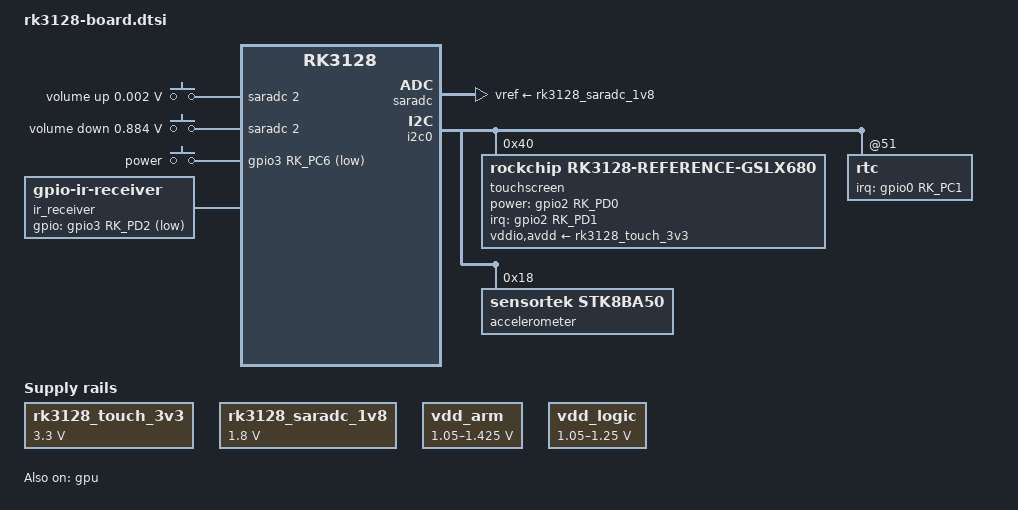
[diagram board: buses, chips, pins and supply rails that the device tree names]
// SPDX-License-Identifier: GPL-2.0+
/*
 * Board basics for the RK3128 reference board Linux port (development record #302, docs/RK3128-LINUX.md
 * "Board basics"): CPU DVFS, Lima GPU, touch, RTC interrupt, accelerometers, keys, IR.
 * Included by scripts/linux-build.sh after the board file (#298); labels come from there and
 * from rk3128.dtsi. Every vendor number is read from the stock rk-kernel.dtb or from the stock
 * 3.10 kernel binary (the doc names the source of each one).
 */

#include <dt-bindings/input/input.h>

/*
 * SAFETY, regulators: on this board a HIGHER PWM duty gives a LOWER voltage, so a wrong table
 * over-volts the CPU. The vendor driver (pwm_regulator_set_voltage at 0xc0341cb8 in the stock
 * kernel, read as ARM code) computes, for a requested voltage V:
 *
 *     duty_percent = ((max_uV - V) / coefficient / 10)      all integer divisions
 *     duty_ns      = period * duty_percent / 100
 *
 * with max_uV = rockchip,pwm_max_voltage = 1450000, coefficient = rockchip,pwm_coefficient = 550,
 * period = 25000 ns, then pwm_config(duty_ns, period) and rk_pwm_config_v2 (period to the
 * register at +4, duty to +8, control 0xb = enable | continuous | DUTY_POSITIVE): the duty is the
 * HIGH time. So duty_percent = floor((1450000 - V) / 5500), e.g. 1.25 V -> 36 %, 1.05 V -> 72 %,
 * 1.45 V -> 0 %. The tables below are exactly that, for the vendor's own 21-entry voltage map.
 *
 * The board file's tables were written in per mille with pwm-dutycycle-unit = 1000. The kernel's
 * pwm-regulator ignores that unit in voltage-table mode (it always scales by 100), so every
 * entry above 100 would fail pwm_set_relative_duty_cycle() and leave the duty at 0 = 1.45 V.
 * They are replaced here by percent values, and the unused unit/range properties dropped.
 *
 * The whole block is behind RK3128_PWM_REGULATORS (default "disabled", the board file's knob):
 * the board file sets the status of vdd_arm, vdd_logic, pwm1 and pwm2 from it, and the OPP
 * entries that need more than u-boot's voltage carry the same status. cpu-supply points at
 * vdd_arm, so while the regulators are disabled cpufreq-dt defers its probe and the CPU stays
 * at the clock and voltage u-boot left (the first test image).
 */
&vdd_arm {
	/delete-property/ pwm-dutycycle-unit;
	/delete-property/ pwm-dutycycle-range;
	voltage-table = <950000 90>, <975000 86>, <1000000 81>, <1025000 77>,
			<1050000 72>, <1075000 68>, <1100000 63>, <1125000 59>,
			<1150000 54>, <1175000 50>, <1200000 45>, <1225000 40>,
			<1250000 36>, <1275000 31>, <1300000 27>, <1325000 22>,
			<1350000 18>, <1375000 13>, <1400000 9>, <1425000 4>,
			<1450000 0>;
	/* floor: the fork's measured stability limit (1.05 V); ceiling: the vendor's top DVFS step */
	regulator-min-microvolt = <1050000>;
	regulator-max-microvolt = <1425000>;
	/*
	 * The vendor waits (new - old) >> 9 microseconds after raising the voltage
	 * (dvfs_volt_up_delay, 0xc0036c08): 512 uV per us.
	 */
	regulator-ramp-delay = <512>;
};

/*
 * vdd_logic feeds the whole PD_LOGIC (DRAM controller, GPU, VOP...). Nothing changes it in this
 * image (no dmc, the GPU has no mali-supply), so it keeps u-boot's value; the limits only stop
 * a stray consumer: floor 1.05 V (mainline's own warning on rk3128-xpi-3128, and the fork's
 * floor), ceiling the vendor's highest logic step (clk_ddr 396 MHz at 1.25 V).
 */
&vdd_logic {
	/delete-property/ pwm-dutycycle-unit;
	/delete-property/ pwm-dutycycle-range;
	voltage-table = <950000 90>, <975000 86>, <1000000 81>, <1025000 77>,
			<1050000 72>, <1075000 68>, <1100000 63>, <1125000 59>,
			<1150000 54>, <1175000 50>, <1200000 45>, <1225000 40>,
			<1250000 36>, <1275000 31>, <1300000 27>, <1325000 22>,
			<1350000 18>, <1375000 13>, <1400000 9>, <1425000 4>,
			<1450000 0>;
	regulator-min-microvolt = <1050000>;
	regulator-max-microvolt = <1250000>;
	regulator-ramp-delay = <512>;
};

/*
 * CPU DVFS. Frequencies are the vendor's (stock dvfs/vd_arm/clk_core operating-points: 216, 408,
 * 600, 696, 816, 1008, 1200 MHz). Each voltage is the larger of the vendor's step and the
 * fork's measured floor (docs/RK3128-LINUX.md "Kernel findings"):
 *
 *    MHz    vendor   fork    used
 *    216    1.000    1.050   1.050
 *    408    1.000    1.050   1.050
 *    600    1.150    1.100   1.150
 *    696    1.150    dropped (the fork's hang, and no clock-tree rate it likes)
 *    816    1.200    1.200   1.200
 *   1008    1.350    1.200   1.350
 *   1200    1.425    1.350   1.425
 *
 * Without regulators (the default) u-boot's 1.25 V (vendor rockchip,pwm_voltage of vdd_arm)
 * carries at most the 816 MHz step, so 1008 and 1200 MHz are disabled with the same knob.
 * rk3128.dtsi's own voltages (0.95..1.325 V) are below the fork's floor and are replaced.
 */
&cpu0 {
	cpu-supply = <&vdd_arm>;
};

&cpu_opp_table {
	/delete-node/ opp-696000000;

	opp-216000000 {
		opp-microvolt = <1050000 1050000 1425000>;
	};
	opp-408000000 {
		opp-microvolt = <1050000 1050000 1425000>;
	};
	opp-600000000 {
		opp-microvolt = <1150000 1150000 1425000>;
	};
	opp-816000000 {
		opp-microvolt = <1200000 1200000 1425000>;
	};
	opp-1008000000 {
		opp-microvolt = <1350000 1350000 1425000>;
		status = RK3128_PWM_REGULATORS;
	};
	/*
	 * Off in every build, with no knob (#387): the owner's rule keeps the CPU at the operating
	 * points Android runs, 1008 MHz at most (1.425 V here is the vendor's table, not used).
	 */
	opp-1200000000 {
		opp-microvolt = <1425000 1425000 1425000>;
		status = "disabled";
	};
};

/*
 * GPU: Mali-400 MP2 for the Lima DRM driver. rk3128.dtsi already has the register map, the six
 * IRQs (identical to the vendor's: GP 3, GPMMU 4, PP0 5, PPMMU 4, PP1 5), clocks and the PD_GPU
 * power domain; the stock `gpu` node lists the same blocks at 0x10090000 (GP), 0x10091000 (L2),
 * 0x10093000/94000/95000 (MMUs) and 0x10098000/9a000 (PP0/PP1).
 *
 * No mali-supply: the vendor ties the GPU to vdd_logic (clk_gpu 396 MHz at 1.15 V, regulator-
 * mode table only), and vdd_logic must never be lowered here (see above). Lima treats the
 * supply as optional, so devfreq only changes the clock and the rail stays at u-boot's 1.2 V,
 * above every step used. 480 MHz is dropped: the vendor never goes above 396 MHz.
 */
&gpu {
	status = "okay";
};

&gpu_opp_table {
	/delete-node/ opp-480000000;
};

/*
 * Fixed rails that exist only because mainline drivers insist on a supply. The touch controller
 * has no switchable supply (the vendor driver logs "failed to get regulator, -19" and runs
 * without), and the SARADC wants a vref regulator: the vendor says rockchip,adc-vref = 1800 mV.
 */
/ {
	rk3128_touch_3v3: regulator-rk3128-touch-3v3 {
		compatible = "regulator-fixed";
		regulator-name = "touch_3v3";
		regulator-min-microvolt = <3300000>;
		regulator-max-microvolt = <3300000>;
		regulator-always-on;
		regulator-boot-on;
	};

	rk3128_saradc_1v8: regulator-rk3128-saradc-1v8 {
		compatible = "regulator-fixed";
		regulator-name = "saradc_vref";
		regulator-min-microvolt = <1800000>;
		regulator-max-microvolt = <1800000>;
		regulator-always-on;
		regulator-boot-on;
	};

	/*
	 * SARADC keys: stock `key` node under 2006c000.adc, io-channels = saradc channel 2
	 * (10-bit, vref 1.8 V). The vendor poll (adc_key_poll, 0xc0500d70) ignores readings
	 * >= 950 (no key: the line idles near full scale) and calls a key pressed within +-70
	 * counts of its rockchip,adc_value: vol-up 1, vol-down 0x1f7 = 503. adc-keys picks the
	 * nearest threshold (in whole mV), so the thresholds are the vendor centres in microvolt
	 * (counts * 1800000 / 1024) and keyup is full scale:
	 *   1 -> 1758 uV, 503 -> 884180 uV, idle -> 1800000 uV.
	 * Vendor polling is every 10 jiffies (100 ms at HZ=100).
	 *
	 * DISABLED BY DEFAULT (#432, docs/RK3128-LINUX.md "Inputs and sensors"): on this board channel 2 rests
	 * at 6..11 counts (10..19 mV), inside the vol-up window, so adc-keys holds KEY_VOLUMEUP down for good
	 * (the stock rk29-keypad does too: `getevent -pl` marks KEY_VOLUMEUP with a star). A fitted button
	 * network pulls the line up to full scale at rest; this one has no pull-up, so the board has no
	 * volume buttons. The node status is the RK3128_ADC_KEYS knob (linux/dts/rk3128-inputs.dtsi).
	 */
	adc_keys: adc-keys {
		compatible = "adc-keys";
		io-channels = <&saradc 2>;
		io-channel-names = "buttons";
		keyup-threshold-microvolt = <1800000>;
		poll-interval = <100>;

		button-vol-up {
			label = "volume up";
			linux,code = <KEY_VOLUMEUP>;
			press-threshold-microvolt = <1758>;
		};

		button-vol-down {
			label = "volume down";
			linux,code = <KEY_VOLUMEDOWN>;
			press-threshold-microvolt = <884180>;
		};
	};

	/*
	 * GPIO keys: the power key only (the board has one physical button, owner answer 2026-11-07, #466).
	 * Stock `key` node: power-key gpio3 pin 22 (GPIO3_C6) flags 1 = active low, code 0x74 = KEY_POWER,
	 * gpio-key,wakeup. The stock node also has a sensor-key on gpio3 pin 21 (GPIO3_C5, code 0x45 =
	 * KEY_NUMLOCK); it is NOT a button: the same pin is `gpio_sensor_ctl`'s sensor_ctl_io, the
	 * accelerometer driver's control line (Android's log: "gpio-117 (sensor_ctl_gpio) status -16" because
	 * the key node got the pin first). It is left unbound here (no key, no pinctrl; #466, docs/RK3128-LINUX.md
	 * "Inputs and sensors").
	 */
	gpio-keys {
		compatible = "gpio-keys";
		pinctrl-names = "default";
		pinctrl-0 = <&rk3128_power_key>;

		key-power {
			label = "power";
			gpios = <&gpio3 RK_PC6 GPIO_ACTIVE_LOW>;
			linux,code = <KEY_POWER>;
			wakeup-source;
		};
	};

	/*
	 * IR receiver: stock `rkxx-remotectl`, remotectl_gpios = gpio3 pin 26 (GPIO3_D2, the pin
	 * the PWM3 block would capture on) flags 1 = active low. Mainline has no Rockchip IR
	 * capture driver; the vendor driver is a GPIO-interrupt NEC decoder anyway, which is
	 * exactly gpio-ir-receiver + rc-core's NEC decoder. The keymap is the vendor's seven
	 * remote tables (linux/patches/302-0002, tools/rk3128_ir_keymap.py).
	 *
	 * DISABLED BY DEFAULT (#466): the board has no remote (owner answer 2026-11-07), and the keymap carries
	 * volume and other keys the launcher would act on, so a live receiver can only make spurious input. The
	 * node status is the RK3128_IR knob (linux/dts/rk3128-inputs.dtsi).
	 */
	ir_receiver: ir-receiver {
		compatible = "gpio-ir-receiver";
		gpios = <&gpio3 RK_PD2 GPIO_ACTIVE_LOW>;
		pinctrl-names = "default";
		pinctrl-0 = <&rk3128_ir_pin>;
		linux,rc-map-name = "rc-rk3128-reference";
	};
};

&saradc {
	vref-supply = <&rk3128_saradc_1v8>;
	status = "okay";
};

&pinctrl {
	rk3128-board {
		/* touch interrupt GPIO2_D1 and power/reset GPIO2_D0 (stock touchscreen@40, gpio2 25/24) */
		rk3128_touch_int: rk3128-touch-int {
			rockchip,pins = <2 RK_PD1 RK_FUNC_GPIO &pcfg_pull_default>;
		};

		rk3128_touch_power: rk3128-touch-power {
			rockchip,pins = <2 RK_PD0 RK_FUNC_GPIO &pcfg_pull_none>;
		};

		/* hym8563 INT: stock rtc@51 irq_gpio = gpio0 pin 17 (GPIO0_C1), flags 2 = falling edge */
		rk3128_rtc_int: rk3128-rtc-int {
			rockchip,pins = <0 RK_PC1 RK_FUNC_GPIO &pcfg_pull_default>;
		};

		rk3128_power_key: rk3128-power-key {
			rockchip,pins = <3 RK_PC6 RK_FUNC_GPIO &pcfg_pull_default>;
		};

		rk3128_ir_pin: rk3128-ir-pin {
			rockchip,pins = <3 RK_PD2 RK_FUNC_GPIO &pcfg_pull_default>;
		};
	};
};

&i2c0 {
	/*
	 * Touch: Silead GSL family, stock `gslX680-d708` at 0x40. The firmware table is extracted
	 * by tools/gsl_fw_extract.py (docs/RK3128-LINUX.md "Touch firmware") and goes to
	 * /lib/firmware/silead/gslx680-d708.fw; silead.c prepends "silead/" to firmware-name.
	 * Firmware coordinates are 1024 x 640, X right to left (#357). The board-specific
	 * compatible restores the vendor host calibration (#579), producing 0..800 / 0..1280
	 * and applying X inversion once. These are calibrated evdev maxima, as on Android;
	 * touchscreen-size-* includes the endpoint. No extra inversion or swap.
	 * Interrupt rising edge
	 * (the vendor requests IRQF_TRIGGER_RISING), wake pin GPIO2_D0 active high.
	 */
	touchscreen@40 {
		compatible = "rockchip,rk3128-reference-gslx680", "silead,gsl1680";
		reg = <0x40>;
		interrupt-parent = <&gpio2>;
		interrupts = <RK_PD1 IRQ_TYPE_EDGE_RISING>;
		pinctrl-names = "default";
		pinctrl-0 = <&rk3128_touch_int &rk3128_touch_power>;
		power-gpios = <&gpio2 RK_PD0 GPIO_ACTIVE_HIGH>;
		firmware-name = "gslx680-d708.fw";
		touchscreen-size-x = <801>;
		touchscreen-size-y = <1281>;
		silead,max-fingers = <5>;
		vddio-supply = <&rk3128_touch_3v3>;
		avdd-supply = <&rk3128_touch_3v3>;
	};

	/* hym8563 RTC: the node is in the board file; this adds the interrupt line */
	rtc@51 {
		interrupt-parent = <&gpio0>;
		interrupts = <RK_PC1 IRQ_TYPE_EDGE_FALLING>;
		pinctrl-names = "default";
		pinctrl-0 = <&rk3128_rtc_int>;
	};

	/*
	 * Accelerometer: stock sensor@18 `gs_stk8baxx` (layout 1 = identity matrix, poll 10 ms,
	 * no interrupt). It is the one bound to the stock `gsensor` input device.
	 */
	accelerometer@18 {
		compatible = "sensortek,stk8ba50";
		reg = <0x18>;
	};

	/*
	 * Stock sensor@4c `gs_mc3236`: listed in the stock DT but never bound to a driver in the
	 * stock sysfs (board-inventory.txt: 0-004c has no driver link), so the part is probably not
	 * fitted. Disabled; mainline's mc3230 driver covers the MC3230 family at 0x4c if a unit has it.
	 */
	accelerometer@4c {
		compatible = "mcube,mc3230";
		reg = <0x4c>;
		status = "disabled";
	};
};
